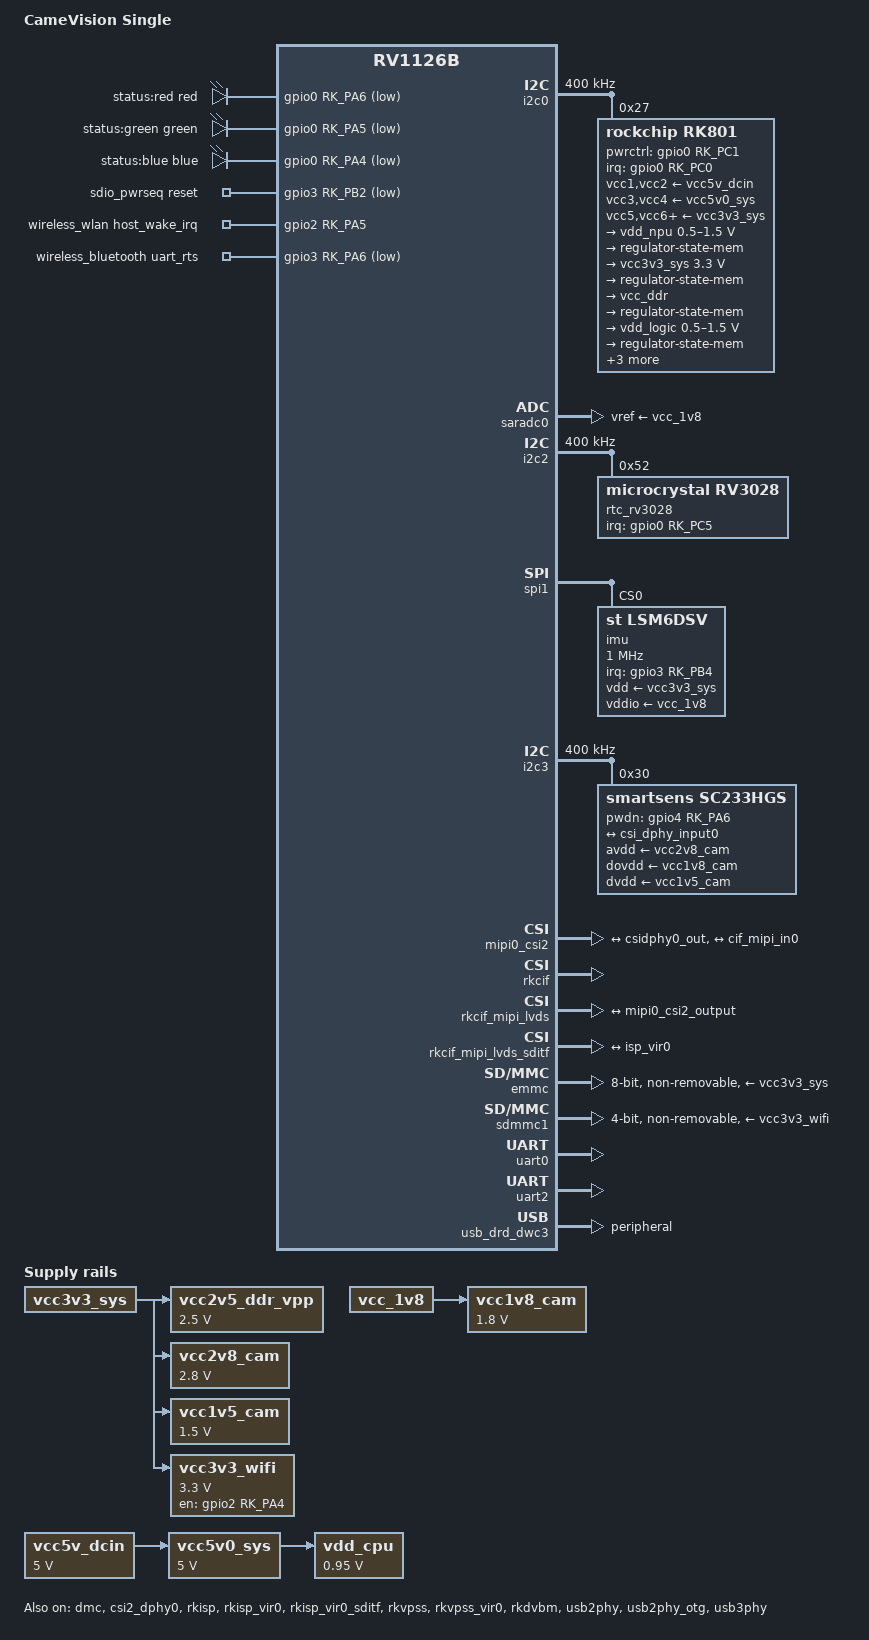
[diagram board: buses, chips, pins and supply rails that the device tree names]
// SPDX-License-Identifier: (GPL-2.0+ OR MIT)
/*
 * CameVision Single - RV1126B carrier + power board
 *
 * Pin assignments below were extracted from the V2.1 MONO-MCU-DDR4 schematic
 * netlist (net name -> BGA pad -> SoC signal) and cross-checked against the
 * RV1126B pinctrl groups in the SoC dtsi. Schematic net names are quoted in
 * comments so this file can be diffed against a future board revision.
 *
 * Board rails (power board):
 *   +5V_MAIN     5.00 V  input
 *   +3V3_SYS     3.30 V  RK801-2 DCDC2
 *   +1V8_MAIN    1.80 V  RK801-2 LDO2
 *   +0V95_CPU    0.95 V  discrete buck (not PMIC controlled)
 *   +0V9_LOGIC   0.90 V  RK801-2 DCDC4, DVFS controlled
 *   +0V95_NPU    0.95 V  RK801-2 DCDC1, DVFS controlled
 *   +1V21_DDR    1.21 V  RK801-2 DCDC3 (DDR4)
 *   +2V5_VPP_DDR 2.50 V  ME6211C25, DDR4 VPP
 *   +0V605_VREF  0.605 V resistor divider from +1V21_DDR, no software control
 *   CAM AVDD     2.80 V  LDLN025PU28R
 *   CAM DVDD     1.50 V  MIC5317-1.5
 */

/dts-v1/;

#include <dt-bindings/gpio/gpio.h>
#include <dt-bindings/input/input.h>
#include <dt-bindings/interrupt-controller/arm-gic.h>
#include <dt-bindings/interrupt-controller/irq.h>
#include <dt-bindings/leds/common.h>
#include <dt-bindings/pinctrl/rockchip.h>
#include <dt-bindings/clock/rockchip,rv1126b-cru.h>
#include "rv1126b.dtsi"

/ {
	model = "CameVision Single";
	compatible = "camemake,camevision-single", "rockchip,rv1126b";

	/* 1 GB DDR4 (K4A8G165WG). The DDR init loader publishes the real size,
	 * U-Boot fixes up /memory before handing over, so no memory node here.
	 */

	chosen {
		stdout-path = "serial0:1500000n8";
	};

	/*
	 * Debug console on the PMU UART. GPIO0_B3/GPIO0_B4 are shared with JTAG,
	 * so mux M2 must be selected explicitly.
	 */
	fiq_debugger: fiq-debugger {
		compatible = "rockchip,fiq-debugger";
		rockchip,serial-id = <0>;
		rockchip,wake-irq = <0>;
		rockchip,irq-mode-enable = <1>;
		rockchip,baudrate = <1500000>;
		interrupts = <GIC_SPI 233 IRQ_TYPE_LEVEL_HIGH>;
		pinctrl-names = "default";
		pinctrl-0 = <&uart0m2_xfer_pins>;
		status = "okay";
	};

	vcc5v_dcin: vcc5v-dcin {
		compatible = "regulator-fixed";
		regulator-name = "vcc5v_dcin";
		regulator-always-on;
		regulator-boot-on;
		regulator-min-microvolt = <5000000>;
		regulator-max-microvolt = <5000000>;
	};

	vcc5v0_sys: vcc5v0-sys {
		compatible = "regulator-fixed";
		regulator-name = "vcc5v0_sys";
		regulator-always-on;
		regulator-boot-on;
		regulator-min-microvolt = <5000000>;
		regulator-max-microvolt = <5000000>;
		vin-supply = <&vcc5v_dcin>;
	};

	/* Discrete CPU buck on the power board, no runtime voltage control. */
	vdd_cpu: vdd-cpu {
		compatible = "regulator-fixed";
		regulator-name = "vdd_cpu";
		regulator-always-on;
		regulator-boot-on;
		regulator-min-microvolt = <950000>;
		regulator-max-microvolt = <950000>;
		vin-supply = <&vcc5v0_sys>;
	};

	/* DDR4 VPP. Present for documentation: no enable pin is routed. */
	vcc2v5_ddr_vpp: vcc2v5-ddr-vpp {
		compatible = "regulator-fixed";
		regulator-name = "vcc2v5_ddr_vpp";
		regulator-always-on;
		regulator-boot-on;
		regulator-min-microvolt = <2500000>;
		regulator-max-microvolt = <2500000>;
		vin-supply = <&vcc3v3_sys>;
	};

	/* Camera FPC (J2) rails. */
	vcc2v8_cam: vcc2v8-cam {
		compatible = "regulator-fixed";
		regulator-name = "vcc2v8_cam";
		regulator-always-on;
		regulator-boot-on;
		regulator-min-microvolt = <2800000>;
		regulator-max-microvolt = <2800000>;
		vin-supply = <&vcc3v3_sys>;
	};

	vcc1v5_cam: vcc1v5-cam {
		compatible = "regulator-fixed";
		regulator-name = "vcc1v5_cam";
		regulator-always-on;
		regulator-boot-on;
		regulator-min-microvolt = <1500000>;
		regulator-max-microvolt = <1500000>;
		vin-supply = <&vcc3v3_sys>;
	};

	vcc1v8_cam: vcc1v8-cam {
		compatible = "regulator-fixed";
		regulator-name = "vcc1v8_cam";
		regulator-always-on;
		regulator-boot-on;
		regulator-min-microvolt = <1800000>;
		regulator-max-microvolt = <1800000>;
		vin-supply = <&vcc_1v8>;
	};

	/* Wi-Fi/BT module supply gated by "WIFI_SOC_PWCTL" (GPIO2_A4). */
	vcc3v3_wifi: vcc3v3-wifi {
		compatible = "regulator-fixed";
		regulator-name = "vcc3v3_wifi";
		regulator-boot-on;
		regulator-min-microvolt = <3300000>;
		regulator-max-microvolt = <3300000>;
		gpio = <&gpio2 RK_PA4 GPIO_ACTIVE_HIGH>;
		enable-active-high;
		startup-delay-us = <20000>;
		pinctrl-names = "default";
		pinctrl-0 = <&wifi_pwctl_en>;
		vin-supply = <&vcc3v3_sys>;
	};

	/*
	 * D1 is a common-anode RGB LED, so every channel is active low.
	 *   STATUS_LED_R  GPIO0_A6  pad 1AA6
	 *   STATUS_LED_G  GPIO0_A5  pad AL10
	 *   STATUS_LED_B  GPIO0_A4  pad 1AB6
	 */
	leds: gpio-leds {
		compatible = "gpio-leds";
		pinctrl-names = "default";
		pinctrl-0 = <&status_led_pins>;

		status_led_r: led-0 {
			label = "status:red";
			color = <LED_COLOR_ID_RED>;
			function = LED_FUNCTION_STATUS;
			gpios = <&gpio0 RK_PA6 GPIO_ACTIVE_LOW>;
			default-state = "off";
		};

		status_led_g: led-1 {
			label = "status:green";
			color = <LED_COLOR_ID_GREEN>;
			function = LED_FUNCTION_STATUS;
			gpios = <&gpio0 RK_PA5 GPIO_ACTIVE_LOW>;
			default-state = "on";
		};

		status_led_b: led-2 {
			label = "status:blue";
			color = <LED_COLOR_ID_BLUE>;
			function = LED_FUNCTION_STATUS;
			gpios = <&gpio0 RK_PA4 GPIO_ACTIVE_LOW>;
			default-state = "off";
		};
	};

	sdio_pwrseq: sdio-pwrseq {
		compatible = "mmc-pwrseq-simple";
		pinctrl-names = "default";
		pinctrl-0 = <&wifi_reg_on>;
		post-power-on-delay-ms = <200>;
		/* "WIFI_RST" GPIO3_B2, pad 1B16 */
		reset-gpios = <&gpio3 RK_PB2 GPIO_ACTIVE_LOW>;
	};

	wireless_wlan: wireless-wlan {
		compatible = "wlan-platdata";
		wifi_chip_type = "vs6621";
		pinctrl-names = "default";
		pinctrl-0 = <&wifi_wake_host>;
		/* "WIFI_INT" GPIO2_A5, pad 1AC18 */
		WIFI,host_wake_irq = <&gpio2 RK_PA5 GPIO_ACTIVE_HIGH>;
		status = "okay";
	};

	wireless_bluetooth: wireless-bluetooth {
		compatible = "bluetooth-platdata";
		uart_rts_gpios = <&gpio3 RK_PA6 GPIO_ACTIVE_LOW>;
		pinctrl-names = "default", "rts_gpio";
		pinctrl-0 = <&uart2m0_rtsn_pins>;
		pinctrl-1 = <&uart2_gpios>;
		status = "okay";
	};
};

/* ---------------------------------------------------------------- power --- */

&i2c0 {
	status = "okay";
	clock-frequency = <400000>;
	pinctrl-names = "default";
	pinctrl-0 = <&i2c0m0_pins>;	/* GPIO0_C2/C3, "I2C0_SCL/SDA_PMIC" */

	rk801: pmic@27 {
		compatible = "rockchip,rk801";
		reg = <0x27>;
		interrupt-parent = <&gpio0>;
		interrupts = <RK_PC0 IRQ_TYPE_LEVEL_LOW>;	/* "PMIC_INT" */
		pwrctrl-gpios = <&gpio0 RK_PC1 GPIO_ACTIVE_HIGH>;	/* "PWR_CTRL" */
		pinctrl-names = "default", "pmic-reset";
		pinctrl-0 = <&pmic_int_pins>;
		pinctrl-1 = <&pmic_pwrctrl_pins>;
		rockchip,system-power-controller;
		wakeup-source;
		status = "okay";

		vcc1-supply = <&vcc5v_dcin>;
		vcc2-supply = <&vcc5v_dcin>;
		vcc3-supply = <&vcc5v0_sys>;
		vcc4-supply = <&vcc5v0_sys>;
		vcc5-supply = <&vcc3v3_sys>;
		vcc6-supply = <&vcc3v3_sys>;
		vcc7-supply = <&vcc3v3_sys>;

		regulators {
			vdd_npu: DCDC_REG1 {
				regulator-name = "vdd_npu";
				regulator-min-microvolt = <500000>;
				regulator-max-microvolt = <1500000>;
				regulator-initial-mode = <0x1>;
				regulator-boot-on;
				regulator-always-on;

				regulator-state-mem {
					regulator-mode = <0x2>;
					regulator-off-in-suspend;
				};
			};

			vcc3v3_sys: DCDC_REG2 {
				regulator-name = "vcc3v3_sys";
				regulator-min-microvolt = <3300000>;
				regulator-max-microvolt = <3300000>;
				regulator-initial-mode = <0x1>;
				regulator-boot-on;
				regulator-always-on;

				regulator-state-mem {
					regulator-mode = <0x2>;
					regulator-on-in-suspend;
					regulator-suspend-microvolt = <3300000>;
				};
			};

			/*
			 * DDR4 core rail, measured 1.21 V. Deliberately left without
			 * min/max so no driver ever retunes the rail under the running
			 * DRAM; the PMIC brings it up from OTP before the SoC is out
			 * of reset.
			 */
			vcc_ddr: DCDC_REG3 {
				regulator-name = "vcc_ddr";
				regulator-initial-mode = <0x1>;
				regulator-boot-on;
				regulator-always-on;

				regulator-state-mem {
					regulator-mode = <0x2>;
					regulator-on-in-suspend;
				};
			};

			vdd_logic: DCDC_REG4 {
				regulator-name = "vdd_logic";
				regulator-min-microvolt = <500000>;
				regulator-max-microvolt = <1500000>;
				regulator-initial-mode = <0x1>;
				regulator-boot-on;
				regulator-always-on;

				regulator-state-mem {
					regulator-mode = <0x2>;
					regulator-on-in-suspend;
					regulator-suspend-microvolt = <900000>;
				};
			};

			/*
			 * LDO1 keeps the stock reference configuration. The power board
			 * schematic is not in this repo yet, so the rail it feeds is
			 * unconfirmed - see the notes file before changing it.
			 */
			vdd0v9_sys: LDO_REG1 {
				regulator-name = "vdd0v9_sys";
				regulator-min-microvolt = <3300000>;
				regulator-max-microvolt = <3300000>;
				regulator-boot-on;
				regulator-always-on;

				regulator-state-mem {
					regulator-on-in-suspend;
					regulator-suspend-microvolt = <3300000>;
				};
			};

			vcc_1v8: LDO_REG2 {
				regulator-name = "vcc_1v8";
				regulator-min-microvolt = <1800000>;
				regulator-max-microvolt = <1800000>;
				regulator-boot-on;
				regulator-always-on;

				regulator-state-mem {
					regulator-on-in-suspend;
					regulator-suspend-microvolt = <1800000>;
				};
			};

			vcc_3v3: SWITCH_REG {
				regulator-name = "vcc_3v3";
				regulator-boot-on;
				regulator-always-on;

				regulator-state-mem {
					regulator-on-in-suspend;
				};
			};
		};
	};
};

&cpu0 {
	cpu-supply = <&vdd_cpu>;
};

&dmc {
	center-supply = <&vdd_logic>;
	status = "okay";
};

&saradc0 {
	status = "okay";
	vref-supply = <&vcc_1v8>;
	/*
	 * SARADC0_IN7 (pad 1A20) is the dedicated BOOT strap read by the BootROM.
	 * It can be exposed as an adc-key once the divider thresholds on the
	 * power board are measured.
	 */
};

/* ----------------------------------------------------------- rtc / imu --- */

&i2c2 {
	status = "okay";
	clock-frequency = <400000>;
	pinctrl-names = "default";
	pinctrl-0 = <&i2c2m0_pins>;	/* GPIO0_D0/D1, "I2C2_SCL/SDA" */

	rtc_rv3028: rtc@52 {
		compatible = "microcrystal,rv3028";
		reg = <0x52>;
		interrupt-parent = <&gpio0>;
		interrupts = <RK_PC5 IRQ_TYPE_LEVEL_LOW>;	/* "RTC_INT" */
		pinctrl-names = "default";
		pinctrl-0 = <&rtc_int_pins>;
		wakeup-source;
		/*
		 * No backup cell is fitted (U5 has CLKOUT, EVI, VDD and /INT only),
		 * so the trickle charger stays off.
		 */
		status = "okay";
	};
};

&spi1 {
	status = "okay";
	max-freq = <10000000>;
	pinctrl-names = "default";
	/* GPIO6_B4 clk, GPIO6_B3 miso, GPIO6_B2 mosi, GPIO6_B1 csn0 */
	pinctrl-0 = <&spi1m0_clk_pins &spi1m0_csn0_pins>;

	imu@0 {
		/* U6 LSM6DSVQTR. Schematic nets are named SPI0_* but the SoC
		 * function on GPIO6_B1..B4 is SPI1_M0. Do not enable SPI1 CSN1:
		 * that pad is GPIO6_B0 / CAM_PWDN.
		 */
		compatible = "st,lsm6dsv";
		reg = <0>;
		spi-max-frequency = <1000000>;
		spi-cpha;
		spi-cpol;
		interrupt-parent = <&gpio3>;
		interrupts = <RK_PB4 IRQ_TYPE_EDGE_RISING>;	/* "IMU_INT1" */
		st,drdy-int-pin = <1>;
		st,disable-sensor-hub;
		st,odr-triggered;
		pinctrl-names = "default";
		pinctrl-0 = <&imu_int_pins>;
		vdd-supply = <&vcc3v3_sys>;
		vddio-supply = <&vcc_1v8>;
		mount-matrix = "1", "0", "0",
			       "0", "1", "0",
			       "0", "0", "1";
		status = "okay";
	};
};

/* -------------------------------------------------------------- camera --- */

&i2c3 {
	status = "okay";
	clock-frequency = <400000>;
	pinctrl-names = "default";
	pinctrl-0 = <&i2c3m1_pins>;	/* GPIO4_A4/A5, "I2C3_SCL/SDA_CAM" */

	sc233hgs: sc233hgs@30 {
		compatible = "smartsens,sc233hgs";
		reg = <0x30>;
		clocks = <&cru CLK_CAM0_OUT>;
		clock-names = "xvclk";
		assigned-clocks = <&cru CLK_CAM0_OUT>;
		assigned-clock-rates = <27000000>;
		pinctrl-names = "default";
		pinctrl-0 = <&cam_clk0_pins &cam_pwdn_pins>;
		/* "CAM_PWDN" GPIO4_A6, pad 1T21, J2 pin 17 */
		pwdn-gpios = <&gpio4 RK_PA6 GPIO_ACTIVE_HIGH>;
		avdd-supply = <&vcc2v8_cam>;
		dovdd-supply = <&vcc1v8_cam>;
		dvdd-supply = <&vcc1v5_cam>;
		rockchip,camera-module-index = <0>;
		rockchip,camera-module-facing = "back";
		rockchip,camera-module-name = "default";
		rockchip,camera-module-lens-name = "default";
		status = "okay";

		port {
			sc233hgs_out: endpoint {
				remote-endpoint = <&csi_dphy_input0>;
				data-lanes = <1 2 3 4>;
			};
		};
	};
};

&csi2_dphy0 {
	status = "okay";

	ports {
		#address-cells = <1>;
		#size-cells = <0>;

		port@0 {
			reg = <0>;
			#address-cells = <1>;
			#size-cells = <0>;

			csi_dphy_input0: endpoint@1 {
				reg = <1>;
				remote-endpoint = <&sc233hgs_out>;
				data-lanes = <1 2 3 4>;
			};
		};

		port@1 {
			reg = <1>;
			#address-cells = <1>;
			#size-cells = <0>;

			csidphy0_out: endpoint@0 {
				reg = <0>;
				remote-endpoint = <&mipi0_csi2_input>;
			};
		};
	};
};

/*
 * Capture pipeline, one sensor on D-PHY0:
 *   sc233hgs -> csi2_dphy0 -> mipi0_csi2 -> rkcif_mipi_lvds
 *            -> rkisp_vir0 -> rkvpss_vir0
 */
&mipi0_csi2 {
	status = "okay";

	ports {
		#address-cells = <1>;
		#size-cells = <0>;

		port@0 {
			reg = <0>;
			#address-cells = <1>;
			#size-cells = <0>;

			mipi0_csi2_input: endpoint@1 {
				reg = <1>;
				remote-endpoint = <&csidphy0_out>;
			};
		};

		port@1 {
			reg = <1>;
			#address-cells = <1>;
			#size-cells = <0>;

			mipi0_csi2_output: endpoint@0 {
				reg = <0>;
				remote-endpoint = <&cif_mipi_in0>;
			};
		};
	};
};

&rkcif {
	status = "okay";
};

&rkcif_mipi_lvds {
	status = "okay";

	port {
		cif_mipi_in0: endpoint {
			remote-endpoint = <&mipi0_csi2_output>;
		};
	};
};

&rkcif_mipi_lvds_sditf {
	status = "okay";

	port {
		mipi_lvds_sditf: endpoint {
			remote-endpoint = <&isp_vir0>;
		};
	};
};

&rkisp {
	status = "okay";
};

&rkisp_vir0 {
	status = "okay";

	port {
		#address-cells = <1>;
		#size-cells = <0>;

		isp_vir0: endpoint@0 {
			reg = <0>;
			remote-endpoint = <&mipi_lvds_sditf>;
		};
	};
};

&rkisp_vir0_sditf {
	status = "okay";

	port {
		isp_sditf0: endpoint {
			remote-endpoint = <&vpss0_in>;
		};
	};
};

&rkvpss {
	status = "okay";
};

&rkvpss_vir0 {
	status = "okay";

	port {
		vpss0_in: endpoint {
			remote-endpoint = <&isp_sditf0>;
		};
	};
};

&rkdvbm {
	status = "okay";
};

/* MIPI DSI is fanned out to J1 but no panel is fitted. */
&dsi {
	status = "disabled";
};

/* ------------------------------------------------------ storage / wifi --- */

&emmc {
	status = "okay";
	bus-width = <8>;
	cap-mmc-highspeed;
	mmc-hs200-1_8v;
	non-removable;
	no-sd;
	no-sdio;
	rockchip,default-sample-phase = <90>;
	pinctrl-names = "default";
	pinctrl-0 = <&emmc_pins>;
	vmmc-supply = <&vcc3v3_sys>;
	vqmmc-supply = <&vcc_1v8>;
};

/* No microSD socket on this board. GPIO0_A5 doubles as SDMMC0_DET and is
 * used for the green LED, so sdmmc0 must stay off.
 */
&sdmmc0 {
	status = "disabled";
};

&sdmmc1 {
	status = "okay";
	bus-width = <4>;
	cap-sd-highspeed;
	cap-sdio-irq;
	supports-highspeed;
	sd-uhs-sdr104;
	keep-power-in-suspend;
	non-removable;
	disable-wp;
	no-sd;
	no-mmc;
	max-frequency = <150000000>;
	mmc-pwrseq = <&sdio_pwrseq>;
	vmmc-supply = <&vcc3v3_wifi>;
	vqmmc-supply = <&vcc_1v8>;
	pinctrl-names = "default";
	pinctrl-0 = <&sdmmc1_clk_pins &sdmmc1_cmd_pins &sdmmc1_bus4_pins>;
};

/* ---------------------------------------------------------------- uart --- */

&uart0 {
	status = "okay";
	pinctrl-names = "default";
	pinctrl-0 = <&uart0m2_xfer_pins>;
};

/* Bluetooth side of the VS6621S80, 4-wire with hardware flow control. */
&uart2 {
	status = "okay";
	pinctrl-names = "default";
	pinctrl-0 = <&uart2m0_xfer_pins &uart2m0_ctsn_pins &uart2m0_rtsn_pins>;
};

/* ----------------------------------------------------------------- usb --- */

&usb2phy {
	status = "okay";
};

/*
 * The USB-C port is a passive CH221K sink. There is no HUSB311 / Type-C PD
 * controller on any I2C bus. Do not describe usb-role-switch or extcon: those
 * wait on a chip that is not fitted and will leave /sys/class/udc empty, or
 * deadlock dwc3 if the OTG PHY is enabled at the same time.
 *
 * Attach is VBUS from the host. The OTG port of the USB2 PHY must be okay or
 * there is no UDC for the gadget.
 */
&usb2phy_otg {
	status = "okay";
};

&usb3phy {
	status = "okay";
};

/*
 * Device only. dr_mode "peripheral" is what a rebuilt kernel DTB should use.
 * The flashed stock blob cannot grow that string in place, so the shipped
 * boot.img keeps "otg" but with role-switch and extcon names removed.
 */
&usb_drd_dwc3 {
	status = "okay";
	dr_mode = "peripheral";
};

&usb_host_ehci {
	status = "disabled";
};

&usb_host_ohci {
	status = "disabled";
};

/* ------------------------------------------------------------- unused --- */

/* Every FEPHY/ETH pin is reused: GPIO3_B4 as IMU_INT1 and GPIO6_B1..B4 as
 * SPI1, so the MAC must stay off.
 */
&gmac {
	status = "disabled";
};

&spi0 {
	status = "disabled";
};

&i2c1 {
	status = "disabled";
};

&i2c4 {
	status = "disabled";
};

&i2c5 {
	status = "disabled";
};

/* -------------------------------------------------------------- pinmux --- */

&pinctrl {
	pmic {
		pmic_int_pins: pmic-int-pins {
			rockchip,pins = <0 RK_PC0 RK_FUNC_GPIO &pcfg_pull_up>;
		};

		/* RK801 drives this line to reset the SoC. */
		pmic_pwrctrl_pins: pmic-pwrctrl-pins {
			rockchip,pins = <0 RK_PC1 RK_FUNC_GPIO &pcfg_output_high>;
		};
	};

	status-led {
		status_led_pins: status-led-pins {
			rockchip,pins =
				<0 RK_PA6 RK_FUNC_GPIO &pcfg_pull_none>,
				<0 RK_PA5 RK_FUNC_GPIO &pcfg_pull_none>,
				<0 RK_PA4 RK_FUNC_GPIO &pcfg_pull_none>;
		};
	};

	camera {
		cam_pwdn_pins: cam-pwdn-pins {
			rockchip,pins = <4 RK_PA6 RK_FUNC_GPIO &pcfg_pull_none>;
		};

		/* Frame sync / external trigger to J2, unused by default. */
		cam_sync_pins: cam-sync-pins {
			rockchip,pins = <4 RK_PA2 RK_FUNC_GPIO &pcfg_pull_none>;
		};

		cam_trigger_pins: cam-trigger-pins {
			rockchip,pins = <4 RK_PA7 RK_FUNC_GPIO &pcfg_pull_none>;
		};
	};

	rtc {
		rtc_int_pins: rtc-int-pins {
			rockchip,pins = <0 RK_PC5 RK_FUNC_GPIO &pcfg_pull_up>;
		};

		/* RTC_EVI timestamp input, GPIO0_C4, pad 1AC8. */
		rtc_evi_pins: rtc-evi-pins {
			rockchip,pins = <0 RK_PC4 RK_FUNC_GPIO &pcfg_pull_none>;
		};
	};

	imu {
		imu_int_pins: imu-int-pins {
			rockchip,pins =
				<3 RK_PB4 RK_FUNC_GPIO &pcfg_pull_none>,
				<6 RK_PC1 RK_FUNC_GPIO &pcfg_pull_none>;
		};
	};

	wifi {
		wifi_reg_on: wifi-reg-on {
			rockchip,pins = <3 RK_PB2 RK_FUNC_GPIO &pcfg_pull_none>;
		};

		wifi_pwctl_en: wifi-pwctl-en {
			rockchip,pins = <2 RK_PA4 RK_FUNC_GPIO &pcfg_output_low>;
		};

		wifi_wake_host: wifi-wake-host {
			rockchip,pins = <2 RK_PA5 RK_FUNC_GPIO &pcfg_pull_down>;
		};
	};

	bluetooth {
		uart2_gpios: uart2-gpios {
			rockchip,pins = <3 RK_PA6 RK_FUNC_GPIO &pcfg_pull_none>;
		};
	};
};
